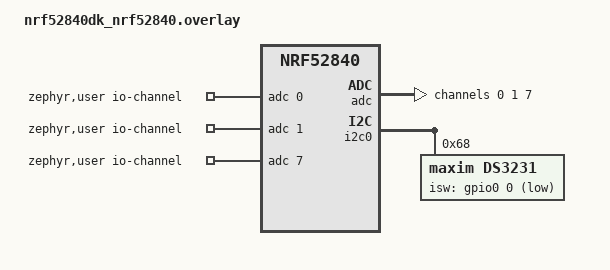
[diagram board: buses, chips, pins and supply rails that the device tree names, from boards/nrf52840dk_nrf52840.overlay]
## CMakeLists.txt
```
cmake_minimum_required(VERSION 3.20.0)

# Handle custom boilerplate, if defined
if(DEFINED CUSTOM_BOILERPLATE)
    include(${CUSTOM_BOILERPLATE})
    return()
endif()

set(COMMON_PATH "C:/ncs/v2.4.2/modules/hal/nordic/nrfx/samples/common")
include(${COMMON_PATH}/common.cmake)

GET_DEVICE_CONFIG_FILES(${BOARD} boards)

find_package(Zephyr REQUIRED HINTS $ENV{ZEPHYR_BASE})
project(nrfx_example)

target_sources(app PRIVATE src/main.c 
                           src/Json/cJSON.c
                           src/Json/Jsonhandler.c
                           src/BLE/BleHandler.c
						   src/BLE/BleService.c
                           src/RTC/RtcHandler.c
                           "C:/ncs/v2.4.2/modules/hal/nordic/nrfx/samples/src/nrfx_saadc/common/saadc_examples_common.c")
target_include_directories(app PRIVATE src/Json 
                                       src/BLE
                                       src/RTC
                                       ${COMMON_PATH} "C:/ncs/v2.4.2/modules/hal/nordic/nrfx/samples/src/nrfx_saadc/common")
```

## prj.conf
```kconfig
CONFIG_ADC=y
CONFIG_ADC_ASYNC=y
CONFIG_GPIO=y
CONFIG_STDOUT_CONSOLE=y
CONFIG_PRINTK=y
CONFIG_PWM=y
CONFIG_LOG_PRINTK=y
CONFIG_LOG_MODE_IMMEDIATE=y
CONFIG_PWM_LOG_LEVEL_DBG=y
CONFIG_NEWLIB_LIBC=y
CONFIG_ADC_NRFX_SAADC=y
CONFIG_NRFX_SAADC=y
CONFIG_LOG=y
CONFIG_PM=y
CONFIG_PM_DEVICE=y

#RTC lib enabling
CONFIG_I2C=y

CONFIG_BT=y
CONFIG_BT_PERIPHERAL=y
CONFIG_BT_DEVICE_NAME="VISENSE_TEST"
CONFIG_BT_CTLR_ADV_EXT=y
CONFIG_BT_EXT_ADV=y
CONFIG_BT_CTLR_ADV_DATA_LEN_MAX=225
CONFIG_BT_USER_DATA_LEN_UPDATE=y
CONFIG_BT_USER_PHY_UPDATE=y
CONFIG_BT_GAP_AUTO_UPDATE_CONN_PARAMS=n
CONFIG_HEAP_MEM_POOL_SIZE=4096
CONFIG_BT_BUF_ACL_RX_SIZE=251
CONFIG_BT_ATT_PREPARE_COUNT=2
CONFIG_BT_L2CAP_TX_MTU=247

CONFIG_BT_BUF_ACL_TX_COUNT=10
CONFIG_BT_BUF_ACL_TX_SIZE=251
CONFIG_BT_AUTO_PHY_UPDATE=y
CONFIG_BT_CTLR_DATA_LENGTH_MAX=251
CONFIG_LOG_DEFAULT_LEVEL=3
```

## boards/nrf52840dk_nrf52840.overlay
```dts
/*
 * SPDX-License-Identifier: Apache-2.0
 *
 * Copyright (c) 2022 Nordic Semiconductor ASA
 */


/ {
	zephyr,user {
		io-channels = <&adc 0>, <&adc 1>, <&adc 7>;
	};
};

&adc {
	#address-cells = <1>;
	#size-cells = <0>;

	channel@0 {
		reg = <0>;
		zephyr,gain = "ADC_GAIN_1_6";
		zephyr,reference = "ADC_REF_INTERNAL";
		zephyr,acquisition-time = <ADC_ACQ_TIME_DEFAULT>;
		zephyr,input-positive = <NRF_SAADC_AIN1>; /* P0.03 */
		zephyr,resolution = <12>;
	};

	channel@1 {
		reg = <1>;
		zephyr,gain = "ADC_GAIN_1_6";
		zephyr,reference = "ADC_REF_INTERNAL";
		zephyr,acquisition-time = <ADC_ACQ_TIME_DEFAULT>;
		zephyr,input-positive = <NRF_SAADC_VDD>;
		zephyr,resolution = <14>;
		zephyr,oversampling = <8>;
	};

	channel@7 {
		reg = <7>;
		zephyr,gain = "ADC_GAIN_1_5";
		zephyr,reference = "ADC_REF_VDD_1_4";
		zephyr,vref-mv = <750>;
		zephyr,acquisition-time = <ADC_ACQ_TIME_DEFAULT>;
		zephyr,input-positive = <NRF_SAADC_AIN6>; /* P0.30 */
		zephyr,input-negative = <NRF_SAADC_AIN7>; /* P0.31 */
		zephyr,resolution = <12>;
	};
};

&arduino_adc {
	io-channel-map = <0 &adc 1>;
};

&i2c0 { /* SDA P0.26, SCL P0.27 */
	status = "okay";
	ds3231: ds3231@68 {
		compatible = "maxim,ds3231";
		reg = <0x68>;
		isw-gpios = <&gpio0 0 (GPIO_PULL_UP | GPIO_ACTIVE_LOW)>;
	};
};
```

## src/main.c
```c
/**
 * @file main.c
 * @brief Main function
 * @date 2023-21-09
 * @author Jeslin
 * @note  This is a test code for pressure sensor.
*/


/*******************************INCLUDES****************************************/
#include <zephyr/device.h>
#include <zephyr/pm/pm.h>
#include <zephyr/pm/device.h>
#include <zephyr/devicetree.h>
#include <zephyr/drivers/gpio.h>
#include <zephyr/kernel.h>
#include <zephyr/sys/printk.h>
#include <zephyr/sys/util.h>
#include <nrfx_example.h>
#include <saadc_examples_common.h>
#include <nrfx_saadc.h>
#include <nrfx_log.h>
#include <stdlib.h>
#include <stdio.h>
#include "BleHandler.h"
#include "BleService.h"
#include "JsonHandler.h"
#include "RtcHandler.h"


/*******************************MACROS****************************************/
#define INFOLITZ_EDIT //Comment this line to disable our changes
//#define SLEEP_ENABLE  //Uncomment this line to enable sleep functionality
#define ADC_MAX_VALUE 1023
#define PRESSURE_SENSOR 0x01

/*******************************TYPEDEFS****************************************/

/*******************************GLOBAL VARIABLES********************************/

#ifndef INFOLITZ_EDIT
    const int pressureMax = 929; //analog reading of pressure transducer at 100psi
    const int pressureZero = 110; //analog reading of pressure transducer at 0psi
#else
    static uint32_t pressureZero = 115; //analog reading of pressure transducer at 0psi
                              //PressureZero = 0.5/3.3V*1024~150(supply voltage - 3.3v) taken from Arduino code refernce from visense 
    static uint32_t pressureMax = 564; //analog reading of pressure transducer at 100psi
                             //PressureMax = 2.5/3.3V*1024~775  taken from Arduino code refernce from visense       
#endif

const int pressuretransducermaxPSI = 70; //psi value of transducer being used
cJSON *pcData = NULL;
const struct device *pAdc = NULL;
const struct gpio_dt_spec sSleepStatusLED = GPIO_DT_SPEC_GET(DT_ALIAS(led0), gpios);
void setPressureZero(uint32_t ucbuff);
void setPressureMax(uint32_t ucbuff);
/*******************************FUNCTION DEFINITIONS********************************/

/**
 * @brief  This function is to read raw adc value
 * @param  None 
 * @return uint16_t - ADC result
*/
uint16_t AnalogRead(void)
{
    nrfx_err_t status;
    uint16_t sample_value;

    status = nrfx_saadc_buffer_set(&sample_value, 1);
    NRFX_ASSERT(status == NRFX_SUCCESS);
    status = nrfx_saadc_mode_trigger();
    NRFX_ASSERT(status == NRFX_SUCCESS);

    return sample_value;
}
/**
 * @brief Setting pressureZero
 * @param ucbuffer - buffer for setting pressureZero
 * @return void
*/
void SetPressureZero(uint32_t ucbuffer)
{
    pressureZero = ucbuffer;
}
/**
 * @brief Setting pressureMax
 * @param ucbuffer - buffer for setting pressureMax
 * @return void
*/
void SetPressureMax(uint8_t ucbuffer)
{
    pressureMax = ucbuffer;
}

/*
 * @brief Setting Power management policy
 * @param void
 * @return true or false
*/
static bool SetPMState()
{
    bool bRetVal = false;

    struct pm_state_info info =
    {
        .exit_latency_us  = 0,
        .min_residency_us = 0,
        .state            = PM_STATE_SUSPEND_TO_RAM,
        .substate_id      = 0,
    };

    bRetVal = pm_state_force(0, &info);
    return bRetVal;
}

/**
 * @brief function for entering sleep mode
 * @param nDuration - Duration for sleep
 * @return none
*/
static void EnterSleepMode(int nDuration)
{
    pm_device_action_run(pAdc, PM_DEVICE_ACTION_SUSPEND);
    BleStopAdvertise();
    gpio_pin_set(sSleepStatusLED.port, sSleepStatusLED.pin, 1);
    k_sleep(K_SECONDS(nDuration));
}

/**
 * @brief function for exiting sleep mode
 * @return none
*/
static void ExitSleepMode()
{
    pm_device_action_run(pAdc, PM_DEVICE_ACTION_RESUME);
    gpio_pin_set(sSleepStatusLED.port, sSleepStatusLED.pin, 0);
}

/**
 * @brief function to initialize adc
 * @return void
*/
static void InitADC()
{
    nrfx_err_t status;
    status = nrfx_saadc_init(NRFX_SAADC_DEFAULT_CONFIG_IRQ_PRIORITY);
    NRFX_ASSERT(status == NRFX_SUCCESS);

    nrfx_saadc_channel_t saadc_channel = 
    {
        .channel_config = 
        {
            .resistor_p        = NRF_SAADC_RESISTOR_DISABLED,
            .resistor_n        = NRF_SAADC_RESISTOR_DISABLED,
            .gain              = NRF_SAADC_GAIN1_6,
            .reference         = NRF_SAADC_REFERENCE_VDD4,
            .acq_time          = NRF_SAADC_ACQTIME_10US,
            .mode              = NRF_SAADC_MODE_SINGLE_ENDED,
            .burst             = NRF_SAADC_BURST_DISABLED,
        },
        .pin_p             = NRF_SAADC_INPUT_AIN1,
        .pin_n             = NRF_SAADC_INPUT_DISABLED,
        .channel_index     = 1
    };

    status = nrfx_saadc_channel_config(&saadc_channel);
    NRFX_ASSERT(status == NRFX_SUCCESS);
    
    uint32_t channels_mask = nrfx_saadc_channels_configured_get();
    status = nrfx_saadc_simple_mode_set(channels_mask,
                                        NRF_SAADC_RESOLUTION_10BIT,
                                        NRF_SAADC_OVERSAMPLE_DISABLED,
                                        NULL);
    NRFX_ASSERT(status == NRFX_SUCCESS);
}

/**
 * @brief  Main function
 * @return int
*/
int main(void)
{
    int nError;
    uint16_t unPressureResult =0;
    uint32_t unPressureRaw = 0;
    char cbuffer[30] = {0};
    char cJsonBuffer[150] = {0};
    uint8_t *pucAdvertisingdata = NULL;
    cJSON *pMainObject = NULL;
    long long llEpochNow = 0;


    
    InitRtc();
    SetPMState();
    pucAdvertisingdata = GetAdvertisingBuffer();
    InitADC();
    k_sleep(K_TICKS(100));
    pAdc = device_get_binding("arduino_adc");

    if (!EnableBLE())
    {
        printk("Bluetooth init failed (err %d)\n", nError);
        return 0;
    }

    nError = InitExtendedAdv();
	if (nError) 
    {
		printk("Advertising failed to create (err %d)\n", nError);
		return 0;
	}
    sprintf(cbuffer,"%dpsi", unPressureResult);
    StartAdvertising();
    gpio_pin_configure_dt(&sSleepStatusLED, GPIO_ACTIVE_LOW);

    while (1) 
    {
        if (GetCurrenTimeInEpoch(&llEpochNow))
        {
            printk("CurrentTime=%llu\n\r", llEpochNow);
        }
        unPressureRaw = AnalogRead();
        if (unPressureRaw > ADC_MAX_VALUE)
        {
            unPressureRaw = 0;
        }
        printk("ADCRaw: %d\n", unPressureRaw);
        pMainObject = cJSON_CreateObject();
        AddItemtoJsonObject(&pMainObject, NUMBER, "ADCValue", &unPressureRaw, sizeof(uint32_t));
        AddItemtoJsonObject(&pMainObject, NUMBER, "PressureZero", &pressureZero, sizeof(uint32_t));
        AddItemtoJsonObject(&pMainObject, NUMBER, "PressureMax", &pressureMax, sizeof(uint32_t));
        AddItemtoJsonObject(&pMainObject, NUMBER, "TimeStamp", &llEpochNow, sizeof(long long));
        if (unPressureRaw > pressureZero && unPressureRaw < ADC_MAX_VALUE)
        {
            memset(cbuffer, '\0',sizeof(cbuffer));
            unPressureResult = ((unPressureRaw-pressureZero)*pressuretransducermaxPSI)/(pressureMax-pressureZero);
            
            sprintf(cbuffer,"%dpsi", unPressureResult);
            printk("Data:%s\n", cbuffer);
            AddItemtoJsonObject(&pMainObject, STRING, "Pressure", (uint8_t*)cbuffer, (uint8_t)strlen(cbuffer));

        }
        else
        {
            // No Op   
        }

        strcpy(cJsonBuffer, (char *)cJSON_Print(pMainObject));
        pucAdvertisingdata[2] = PRESSURE_SENSOR;
        pucAdvertisingdata[3] = (uint8_t)strlen(cJsonBuffer);
        memcpy(&pucAdvertisingdata[4], cJsonBuffer, strlen(cJsonBuffer));
        printk("JSON:\n%s\n", cJsonBuffer);

        if(IsNotificationenabled())
        {
           VisenseSensordataNotify(pucAdvertisingdata+2, ADV_BUFF_SIZE);
        }
        else if (!IsNotificationenabled() && !IsConnected())
        {
            UpdateAdvertiseData();
            StartAdvertising();
        }
        else
        {
            //NO OP
        }
        
        memset(pucAdvertisingdata, 0, ADV_BUFF_SIZE);

        cJSON_Delete(pMainObject);
        k_sleep(K_MSEC(1000));
        printk("PressureZero: %d\n", pressureZero);
        printk("PressureMax: %d\n", pressureMax);
        #ifdef SLEEP_ENABLE
         EnterSleepMode(180);
         ExitSleepMode();
        #endif
    }
}
```
